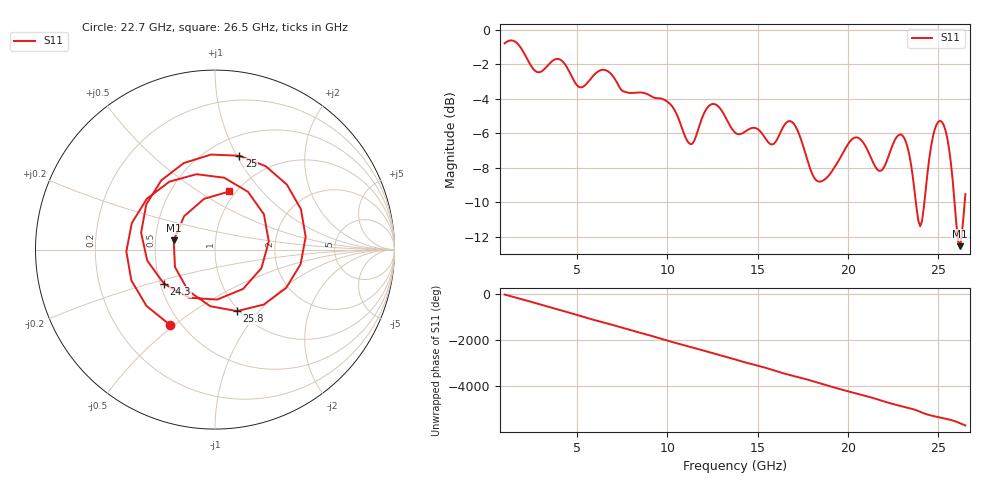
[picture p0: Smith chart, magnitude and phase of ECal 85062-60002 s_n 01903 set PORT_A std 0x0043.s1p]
!Created with skrf (http://scikit-rf.org).
# Hz S RI R 50.0
!freq ReS11 ImS11
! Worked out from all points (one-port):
!   256 points, 1 GHz to 26.5 GHz, reference 50 ohm
!   lowest |S11| = -12.6 dB at 26.2 GHz (marker M1), VSWR 1.62, Z = 31.2 + j3.35 ohm
!   |S11| at or under -10 dB: 23.76 GHz to 24.23 GHz (472.7 MHz wide, 1.97 % of centre); 25.9 GHz to 26.46 GHz (561.8 MHz wide, 2.15 % of centre)
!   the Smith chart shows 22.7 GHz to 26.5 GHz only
!   S11 on the Smith chart (normalised r, x): 22.7 GHz: 0.44, -0.48; 24.3 GHz: 0.52, -0.23; 25 GHz: 0.69, +1.03; 25.8 GHz: 0.98, -0.77; 26.5 GHz: 0.93, +0.68
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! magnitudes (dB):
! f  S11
! 1 GHz  -0.8
! 1.7 GHz  -0.8
! 2.8 GHz  -2.5
! 4.2 GHz  -1.8
! 5.1 GHz  -3.3
! 6.5 GHz  -2.3
! 7.4 GHz  -3.4
! 10.6 GHz  -5.1
! 11.3 GHz  -6.6
! 12.5 GHz  -4.3
! 13.8 GHz  -6.0
! 14.9 GHz  -5.7
! 15.8 GHz  -6.7
! 17 GHz  -5.5
! 18.4 GHz  -8.8
! 20.2 GHz  -6.4
! 21.8 GHz  -8.2
! 22.7 GHz  -6.2
! 23.4 GHz  -7.3
! 24 GHz  -11.4
! 24.3 GHz  -9.3
! 24.6 GHz  -6.8
! 25 GHz  -5.3
! 25.4 GHz  -5.8
! 25.8 GHz  -8.8
! 26.1 GHz  -12.3
! 26.2 GHz  -12.6
! 26.5 GHz  -9.5
